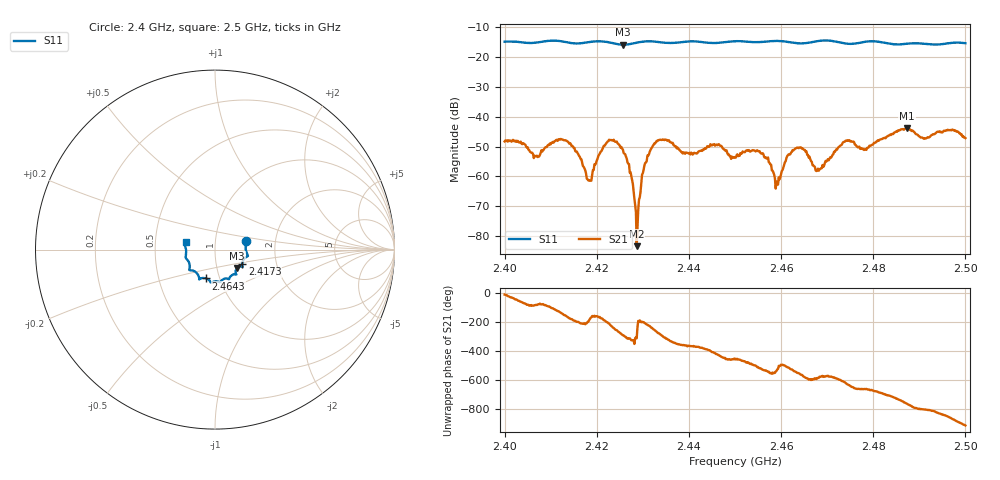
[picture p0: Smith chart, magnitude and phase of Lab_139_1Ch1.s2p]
# Hz S RI R 50
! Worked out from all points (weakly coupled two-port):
!   601 points, 2.4 GHz to 2.5 GHz, reference 50 ohm
!   highest |S21| = -43.87 dB at 2.4873 GHz (marker M1); lowest = -83.4 dB at 2.4287 GHz (marker M2)
!   lowest |S11| = -15.9 dB at 2.4257 GHz (marker M3), VSWR 1.38, Z = 62.5 - j13.1 ohm
!   |S11| at or under -10 dB: start of sweep to end of sweep
!   S12 and S22 are empty: the file has one direction only
!   S11 on the Smith chart (normalised r, x): 2.4 GHz: 1.41, +0.14; 2.4173 GHz: 1.34, -0.22; 2.4643 GHz: 0.86, -0.28; 2.5 GHz: 0.72, +0.06
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2.4e9  0.1729 0.0488  0.00375 -0.000841  0 0  0 0
2.406833e9  0.173 -0.00832  0.000247 -0.00216  0 0  0 0
2.412667e9  0.1763 -0.0401  -0.00345 -0.00224  0 0  0 0
2.416667e9  0.1525 -0.0741  -0.00164 0.00102  0 0  0 0
2.417333e9  0.1518 -0.0816  -0.00118 0.000685  0 0  0 0
2.4185e9  0.1524 -0.0918  -0.000844 2.22e-05  0 0  0 0
2.422667e9  0.1479 -0.0943  -0.00348 0.00218  0 0  0 0
2.425667e9  0.1228 -0.1024  0.00108 0.00261  0 0  0 0
2.427333e9  0.1154 -0.1172  0.0009 0.000762  0 0  0 0
2.428667e9  0.1149 -0.1291  4.67e-05 4.93e-05  0 0  0 0
2.4305e9  0.118 -0.1377  -0.00144 0.000852  0 0  0 0
2.433333e9  0.113 -0.1373  0.000547 0.00401  0 0  0 0
2.45e9  0.0289 -0.181  -0.000293 -0.00204  0 0  0 0
2.455667e9  -0.0039 -0.1774  -0.0023 -0.000756  0 0  0 0
2.459167e9  -0.0228 -0.1838  -0.000721 -0.000164  0 0  0 0
2.461667e9  -0.0287 -0.1749  -0.00212 -0.001  0 0  0 0
2.464333e9  -0.0498 -0.1606  -0.0028 0.00121  0 0  0 0
2.466667e9  -0.0759 -0.1594  -0.00105 0.00141  0 0  0 0
2.468e9  -0.0849 -0.1637  -0.000945 0.000963  0 0  0 0
2.483333e9  -0.1408 -0.09  0.00468 0.00121  0 0  0 0
2.487333e9  -0.1573 -0.0537  0.00472 -0.00433  0 0  0 0
2.5e9  -0.1641 0.0428  -0.00429 0.000883  0 0  0 0
